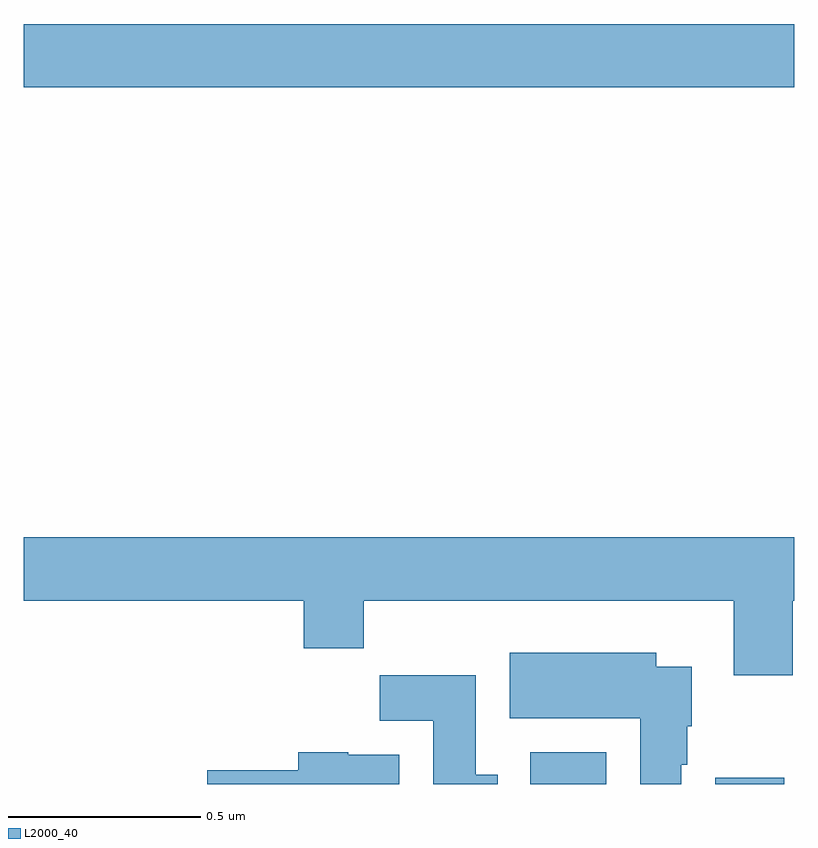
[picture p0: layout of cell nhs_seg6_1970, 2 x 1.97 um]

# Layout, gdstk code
import gdstk
lib = gdstk.Library(unit=1e-6, precision=1e-09)
def R(c, l, rs):  # rectangles x0, y0, x1, y1
    for r in rs: c.add(gdstk.rectangle(r[:2], r[2:], *l))
def P(c, l, *ps):  # polygons
    for p in ps: c.add(gdstk.Polygon(p, *l))
L2000_40 = (2000, 40)

nhs_seg6_1970 = lib.new_cell('nhs_seg6_1970')
R(nhs_seg6_1970, L2000_40, [(137.315,973.5,137.512,973.582), (137.795,973.5,137.974,973.516), (136,975.308,138,975.472)])
P(nhs_seg6_1970, L2000_40, [(137.996,973.976),(138,973.976),(138,974.14),(136,974.14),(136,973.976),(136.727,973.976),(136.727,973.852),(136.883,973.852),(136.883,973.976),(137.843,973.976),(137.843,973.782),(137.996,973.782)],
  [(137.707,973.55),(137.722,973.55),(137.722,973.65),(137.734,973.65),(137.734,973.804),(137.641,973.804),(137.641,973.84),(137.261,973.84),(137.261,973.67),(137.6,973.67),(137.6,973.5),(137.707,973.5)],
  [(137.23,973.524),(137.173,973.524),(137.173,973.782),(136.924,973.782),(136.924,973.664),(137.063,973.664),(137.063,973.5),(137.23,973.5)],
  [(136.975,973.576),(136.842,973.576),(136.842,973.582),(136.712,973.582),(136.712,973.536),(136.476,973.536),(136.476,973.5),(136.975,973.5)])

lib.write_gds('nhs_seg6_1970.gds')
